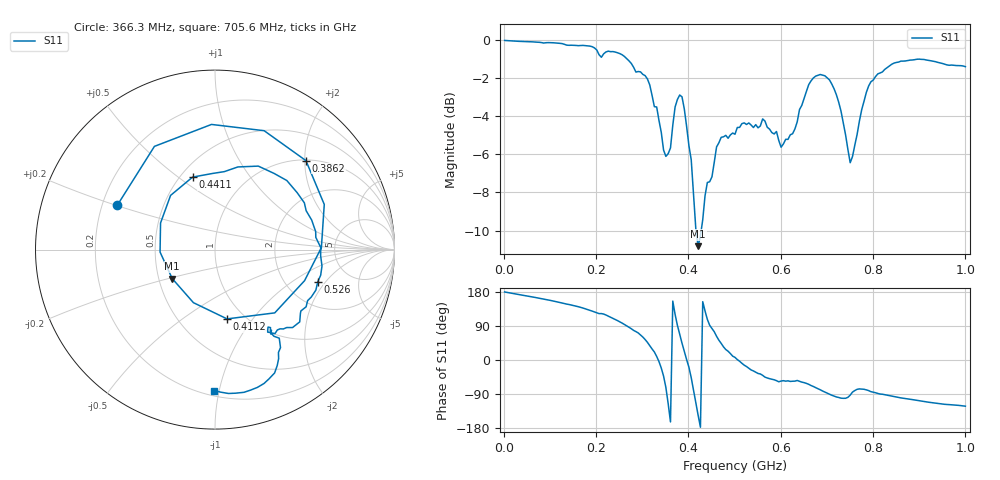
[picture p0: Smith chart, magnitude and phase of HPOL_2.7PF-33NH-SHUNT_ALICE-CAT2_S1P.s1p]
!Agilent N9923A: A.07.32
!Date: Tuesday, 25 February 2020 01:15:10
!Model: N9923A
!Serial: MY52412229
!GPS Latitude:
!GPS Longitude:
!GPS TimeStamp: 0001-01-01 00:00:00Z
!GPS Seconds Since Last Read: 0
!CHECKSUM:1886457294
!Correction: S11(ON U)
!S1P File: Measurement: S11:
# Hz S DB R 50
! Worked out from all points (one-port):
!   201 points, 2 MHz to 1 GHz, reference 50 ohm
!   lowest |S11| = -10.8 dB at 421.2 MHz (marker M1), VSWR 1.81, Z = 29.4 - j10.3 ohm
!   |S11| at or under -10 dB: 416.6 MHz to 427.8 MHz (11.15 MHz wide, 2.64 % of centre)
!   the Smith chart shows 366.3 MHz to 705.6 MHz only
!   S11 on the Smith chart (normalised r, x): 366.3 MHz: 0.26, +0.20; 386.2 MHz: 1.02, +2.03; 411.2 MHz: 0.83, -0.76; 441.1 MHz: 0.57, +0.57; 526 MHz: 2.99, -1.67; 705.6 MHz: 0.24, -0.97
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2000000  -0.03 179.5
1.2675e8  -0.20 150.2
2.1657e8  -0.73 121.2
2.515e8  -0.72 100.7
3.014e8  -1.81 60.5
3.3134e8  -3.52 9.4
3.4631e8  -5.78 -42.6
3.5629e8  -5.97 -115.5
3.6128e8  -5.67 -163.4
3.6627e8  -4.47 155.4
3.7625e8  -3.13 91.6
3.8623e8  -2.99 44.4
3.9621e8  -4.54 1.1
4.1118e8  -8.14 -80.1
4.2116e8  -10.82 -145.9
4.3114e8  -9.43 153.9
4.4112e8  -7.48 107.2
4.7605e8  -5.08 34.8
5.01e8  -4.95 6.9
5.2595e8  -4.44 -17.3
5.6587e8  -4.26 -45.2
6.2575e8  -4.92 -56.0
6.6068e8  -2.35 -64.2
7.0559e8  -2.10 -90.2
7.505e8  -6.44 -92.7
7.8044e8  -3.22 -77.2
8.7525e8  -1.08 -102.6
1e9  -1.40 -121.8
